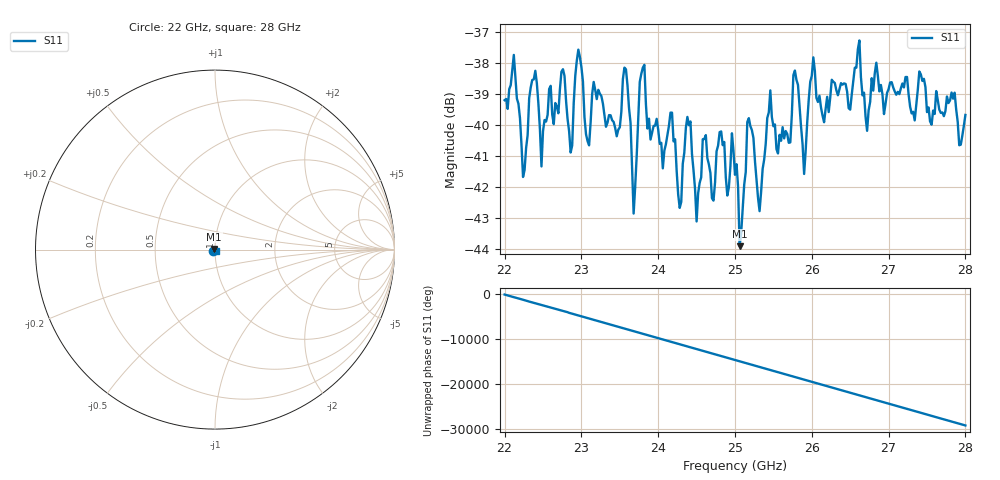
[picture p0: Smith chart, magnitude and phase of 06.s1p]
#  HZ  S  RI  R  50.00
! Rohde & Schwarz ZVA40 4Ports - Version 3.90 - 1145.1110k42 SN: 100403
! Date: 2023-10-04 10:19:21
! Measurement: S12
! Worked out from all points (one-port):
!   301 points, 22 GHz to 28 GHz, reference 50 ohm
!   lowest |S11| = -43.9 dB at 25.06 GHz (marker M1), VSWR 1.01, Z = 49.4 + j0.309 ohm
!   |S11| at or under -10 dB: start of sweep to end of sweep
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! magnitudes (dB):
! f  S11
! 22 GHz  -39.2
! 22.12 GHz  -37.7
! 22.24 GHz  -41.7
! 22.4 GHz  -38.3
! 22.48 GHz  -41.3
! 22.76 GHz  -38.2
! 22.86 GHz  -40.9
! 22.96 GHz  -37.6
! 23.1 GHz  -40.7
! 23.5 GHz  -40.1
! 23.58 GHz  -38.2
! 23.68 GHz  -42.8
! 23.82 GHz  -38.1
! 24.26 GHz  -42.2
! 24.38 GHz  -39.7
! 24.5 GHz  -43.1
! 24.62 GHz  -40.3
! 25 GHz  -41.6
! 25.06 GHz  -43.9
! 25.16 GHz  -39.9
! 25.32 GHz  -42.8
! 25.46 GHz  -38.9
! 25.76 GHz  -38.4
! 25.9 GHz  -41.6
! 26.02 GHz  -37.8
! 26.5 GHz  -39.5
! 27.26 GHz  -39.0
! 28 GHz  -39.7
